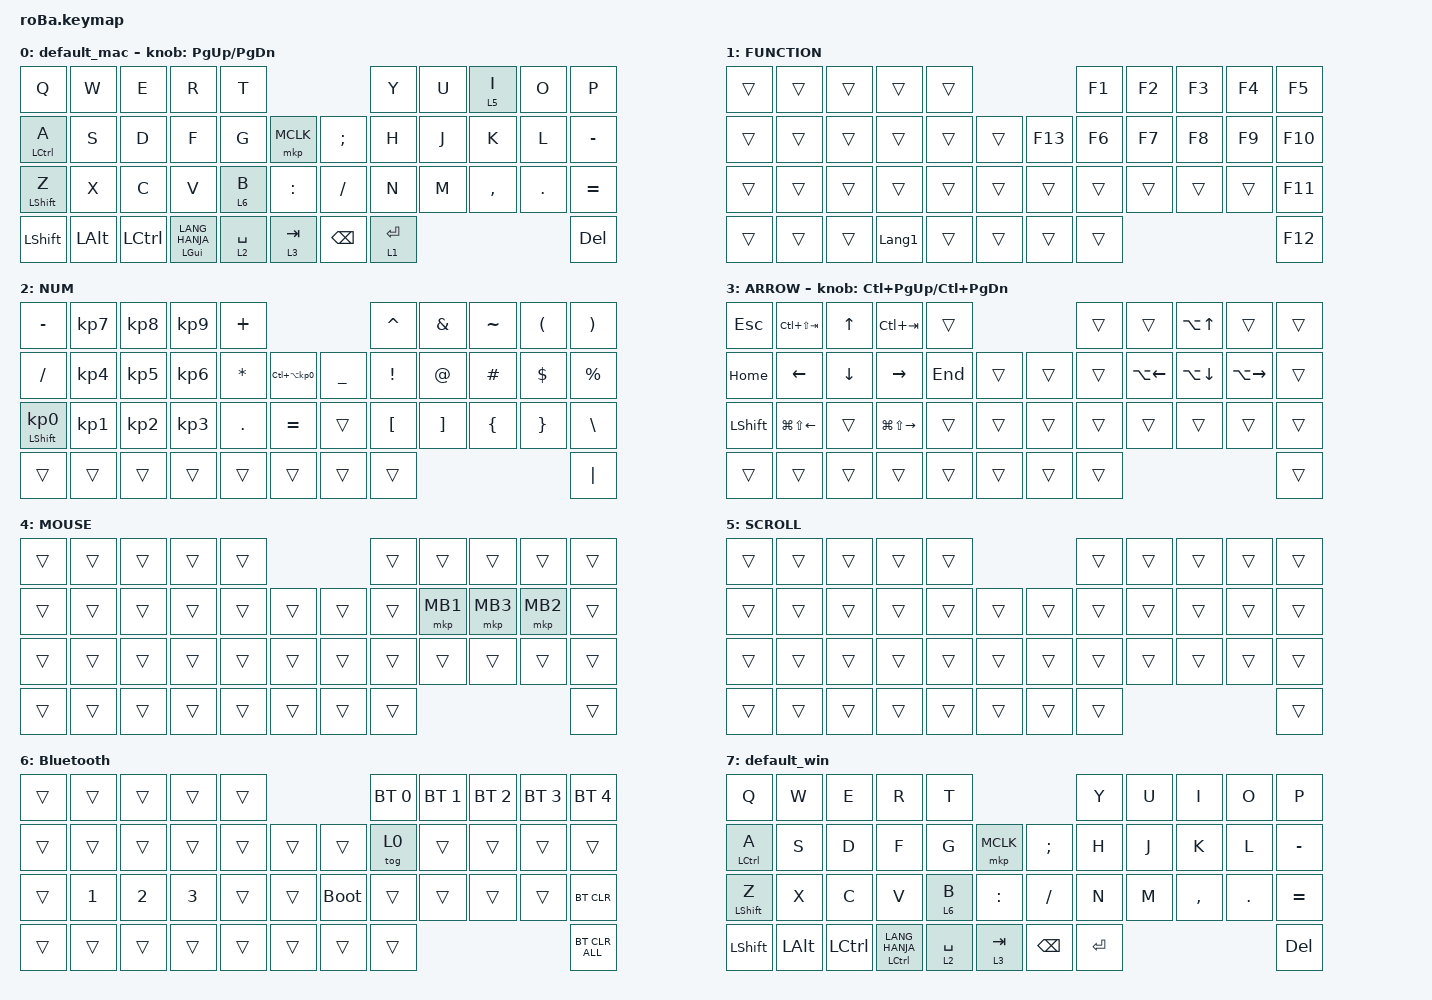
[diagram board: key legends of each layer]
#include <behaviors.dtsi>
#include <dt-bindings/zmk/bt.h>
#include <dt-bindings/zmk/keys.h>
#include <dt-bindings/zmk/pointing.h>

&mt {
    flavor = "balanced";
    quick-tap-ms = <0>;
};

&trackball {
    automouse-layer = <4>;
    scroll-layers = <5>;

    // arrows {
    //     layers = <3>;
    //     bindings =
    //         <&kp RIGHT_ARROW>,
    //         <&kp LEFT_ARROW>,
    //         <&kp UP_ARROW>,
    //         <&kp DOWN_ARROW>;
    //     tick = <10>;
    //     wait-ms = <5>;
    //     tap-ms = <5>;
    // };
};

/ {
    combos {
        compatible = "zmk,combos";

        tab {
            bindings = <&kp TAB>;
            key-positions = <11 12>;
        };

        shift_tab {
            bindings = <&kp LS(TAB)>;
            key-positions = <12 13>;
        };

        muhennkann {
            bindings = <&to_layer_0 INT_MUHENKAN>;
            key-positions = <11 10>;
        };

        double_quotation {
            bindings = <&kp DOUBLE_QUOTES>;
            key-positions = <20 21>;
        };

        eq {
            bindings = <&kp EQUAL>;
            key-positions = <24 25>;
        };
    };

    macros {
        to_layer_0: to_layer_0 {
            compatible = "zmk,behavior-macro-one-param";
            #binding-cells = <1>;
            bindings = <&to 7 &macro_param_1to1 &kp MACRO_PLACEHOLDER>;
            label = "TO_LAYER_0";
        };
    };

    behaviors {
        lt_to_layer_0: lt_to_layer_0 {
            compatible = "zmk,behavior-hold-tap";
            label = "LAYER_TAP_TO_0";
            bindings = <&mo>, <&to_layer_0>;

            #binding-cells = <2>;
            tapping-term-ms = <200>;
        };
    };

    keymap {
        compatible = "zmk,keymap";

        default_mac {
            bindings = <
&kp Q             &kp W         &kp E      &kp R                    &kp T                                      &kp Y        &kp U  &lt 5 I    &kp O    &kp P
&mt LCTRL A       &kp S         &kp D      &kp F                    &kp G        &mkp MCLK      &kp SEMI       &kp H        &kp J  &kp K      &kp L    &kp MINUS
&mt LEFT_SHIFT Z  &kp X         &kp C      &kp V                    &lt 6 B      &kp COLON      &kp SLASH      &kp N        &kp M  &kp COMMA  &kp DOT  &kp EQUAL
&kp LEFT_SHIFT    &kp LEFT_ALT  &kp LCTRL  &mt LEFT_GUI LANG_HANJA  &lt 2 SPACE  &lt 3 TAB      &kp BACKSPACE  &lt 1 ENTER                             &kp DEL
            >;

            sensor-bindings = <&inc_dec_kp PG_UP PAGE_DOWN>;
        };

        FUNCTION {
            bindings = <
&trans  &trans  &trans  &trans          &trans                       &kp F1  &kp F2  &kp F3  &kp F4  &kp F5
&trans  &trans  &trans  &trans          &trans  &trans      &kp F13  &kp F6  &kp F7  &kp F8  &kp F9  &kp F10
&trans  &trans  &trans  &trans          &trans  &trans      &trans   &trans  &trans  &trans  &trans  &kp F11
&trans  &trans  &trans  &kp LANGUAGE_1  &trans  &trans      &trans   &trans                          &kp F12
            >;
        };

        NUM {
            bindings = <
&kp MINUS                   &kp KP_NUMBER_7  &kp KP_NUMBER_8  &kp KP_NUMBER_9  &kp PLUS                                                   &kp CARET         &kp AMPERSAND      &kp TILDE       &kp LEFT_PARENTHESIS  &kp RIGHT_PARENTHESIS
&kp SLASH                   &kp KP_NUMBER_4  &kp KP_NUMBER_5  &kp KP_NUMBER_6  &kp ASTERISK  &kp LC(LA(KP_NUMBER_0))      &kp UNDERSCORE  &kp EXCLAMATION   &kp AT_SIGN        &kp HASH        &kp DOLLAR            &kp PERCENT
&mt LEFT_SHIFT KP_NUMBER_0  &kp KP_NUMBER_1  &kp KP_NUMBER_2  &kp KP_NUMBER_3  &kp PERIOD    &kp EQUAL                    &trans          &kp LEFT_BRACKET  &kp RIGHT_BRACKET  &kp LEFT_BRACE  &kp RIGHT_BRACE       &kp BACKSLASH
&trans                      &trans           &trans           &trans           &trans        &trans                       &trans          &trans                                                                     &kp PIPE
            >;
        };

        ARROW {
            bindings = <
&kp ESCAPE      &kp LC(LS(TAB))         &kp UP_ARROW    &kp LC(TAB)              &trans                       &trans  &trans              &kp LA(UP_ARROW)    &trans               &trans
&kp HOME        &kp LEFT_ARROW          &kp DOWN_ARROW  &kp RIGHT_ARROW          &kp END  &trans      &trans  &trans  &kp LA(LEFT_ARROW)  &kp LA(DOWN_ARROW)  &kp LA(RIGHT_ARROW)  &trans
&kp LEFT_SHIFT  &kp LG(LS(LEFT_ARROW))  &trans          &kp LG(LS(RIGHT_ARROW))  &trans   &trans      &trans  &trans  &trans              &trans              &trans               &trans
&trans          &trans                  &trans          &trans                   &trans   &trans      &trans  &trans                                                               &trans
            >;

            sensor-bindings = <&inc_dec_kp LC(PAGE_UP) LC(PAGE_DOWN)>;
        };

        MOUSE {
            bindings = <
&trans  &trans  &trans  &trans  &trans                      &trans  &trans    &trans    &trans    &trans
&trans  &trans  &trans  &trans  &trans  &trans      &trans  &trans  &mkp MB1  &mkp MB3  &mkp MB2  &trans
&trans  &trans  &trans  &trans  &trans  &trans      &trans  &trans  &trans    &trans    &trans    &trans
&trans  &trans  &trans  &trans  &trans  &trans      &trans  &trans                                &trans
            >;
        };

        SCROLL {
            bindings = <
&trans  &trans  &trans  &trans  &trans                      &trans  &trans  &trans  &trans  &trans
&trans  &trans  &trans  &trans  &trans  &trans      &trans  &trans  &trans  &trans  &trans  &trans
&trans  &trans  &trans  &trans  &trans  &trans      &trans  &trans  &trans  &trans  &trans  &trans
&trans  &trans  &trans  &trans  &trans  &trans      &trans  &trans                          &trans
            >;
        };

        Bluetooth {
            bindings = <
&trans  &trans        &trans        &trans        &trans                           &bt BT_SEL 0  &bt BT_SEL 1  &bt BT_SEL 2  &bt BT_SEL 3  &bt BT_SEL 4
&trans  &trans        &trans        &trans        &trans  &trans      &trans       &tog 0        &trans        &trans        &trans        &trans
&trans  &kp NUMBER_1  &kp NUMBER_2  &kp NUMBER_3  &trans  &trans      &bootloader  &trans        &trans        &trans        &trans        &bt BT_CLR
&trans  &trans        &trans        &trans        &trans  &trans      &trans       &trans                                                  &bt BT_CLR_ALL
            >;
        };

        default_win {
            bindings = <
&kp Q             &kp W     &kp E      &kp R                 &kp T                                 &kp Y    &kp U  &kp I      &kp O    &kp P
&mt LCTRL A       &kp S     &kp D      &kp F                 &kp G        &mkp MCLK      &kp SEMI  &kp H    &kp J  &kp K      &kp L    &kp MINUS
&mt LEFT_SHIFT Z  &kp X     &kp C      &kp V                 &lt 6 B      &kp COLON      &kp FSLH  &kp N    &kp M  &kp COMMA  &kp DOT  &kp EQUAL
&kp LSHFT         &kp LALT  &kp LCTRL  &mt LCTRL LANG_HANJA  &lt 2 SPACE  &lt 3 TAB      &kp BSPC  &kp RET                             &kp DEL
            >;
        };
    };
};
